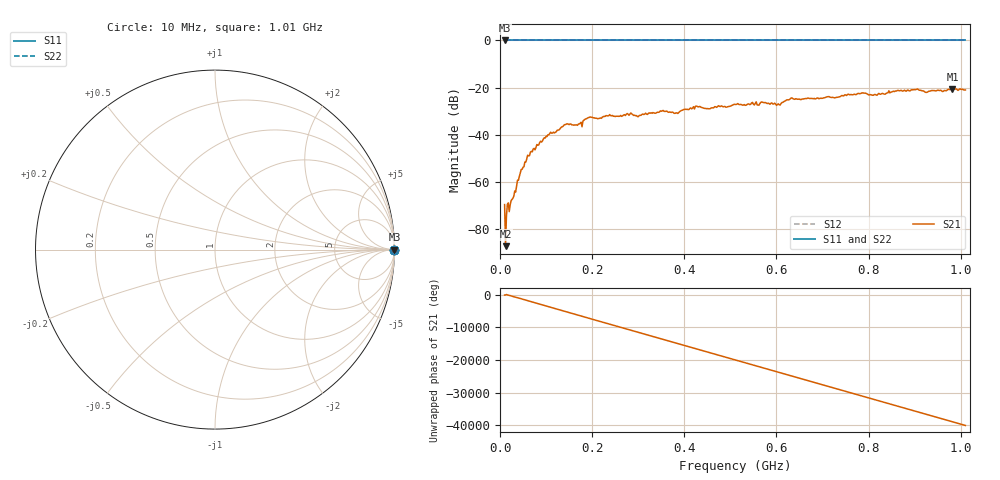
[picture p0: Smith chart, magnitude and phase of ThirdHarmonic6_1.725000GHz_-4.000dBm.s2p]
! 8/16/2025 8:46:02 PM
! C:\ANRITSUVNA\TEMP\TEMP.S2P
! CHANNEL.1
! TR.MEASUREMENT
! RAW.DATA
! RF.CORRECTION.OFF
! AVERAGING.OFF
! IF.BANDWIDTH: 5KHZ
! SWEEPTYPE:  FREQ.SWEEP(Linear)
! Reference Plane Port Info
! PORT:  PORT1  PORT2
! DISTANCE:  0  m  0  m
! TIME:  0  s  0  s
! PHASE.OFFSET:  0  deg.  0  deg.
! LOSS:  0  dB  0  dB
! REF.LOSS:  0  dB  0  dB
! REF.FREQ:  0  Hz  0  Hz
! Power Info
! POWER:  -20  dBm  -20  dBm
! EFF.POWER:  -20  dBm  -20  dBm
! SOURCE.ATTEN:  0  dB  0  dB
! TEST.ATTEN:  0  dB  0  dB
# GHZ S RI R 50.0
! FREQ.GHZ  S11RE  S11IM  S21RE  S21IM  S12RE  S12IM  S22RE  S22IM
!; PortSelection: Port_12
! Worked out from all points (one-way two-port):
!   501 points, 10 MHz to 1.01 GHz, reference 50 ohm
!   highest |S21| = -20.52 dB at 982 MHz (marker M1); lowest = -87.2 dB at 12 MHz (marker M2)
!   lowest |S11| = 0.0 dB at 10 MHz (marker M3)
!   |S11| at or under -10 dB: nowhere
!   |S22| runs from 0.0 to 0.0 dB; largest |S21 - S12| = 1.1
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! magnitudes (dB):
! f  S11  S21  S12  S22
! 10 MHz  0.0  -69.6  0.0  0.0
! 12 MHz  0.0  -87.2  0.0  0.0
! 16 MHz  0.0  -69.5  0.0  0.0
! 20 MHz  0.0  -72.6  0.0  0.0
! 46 MHz  0.0  -54.7  0.0  0.0
! 70 MHz  0.0  -47.2  0.0  0.0
! 106 MHz  0.0  -40.0  0.0  0.0
! 142 MHz  0.0  -35.7  0.0  0.0
! 178 MHz  0.0  -36.6  0.0  0.0
! 196 MHz  0.0  -32.4  0.0  0.0
! 302 MHz  0.0  -31.8  0.0  0.0
! 344 MHz  0.0  -30.5  0.0  0.0
! 382 MHz  0.0  -30.7  0.0  0.0
! 428 MHz  0.0  -28.0  0.0  0.0
! 452 MHz  0.0  -28.9  0.0  0.0
! 510 MHz  0.0  -27.1  0.0  0.0
! 604 MHz  0.0  -26.9  0.0  0.0
! 632 MHz  0.0  -24.4  0.0  0.0
! 678 MHz  0.0  -24.6  0.0  0.0
! 844 MHz  0.0  -21.3  0.0  0.0
! 982 MHz  0.0  -20.5  0.0  0.0
! 1.01 GHz  0.0  -21.0  0.0  0.0
